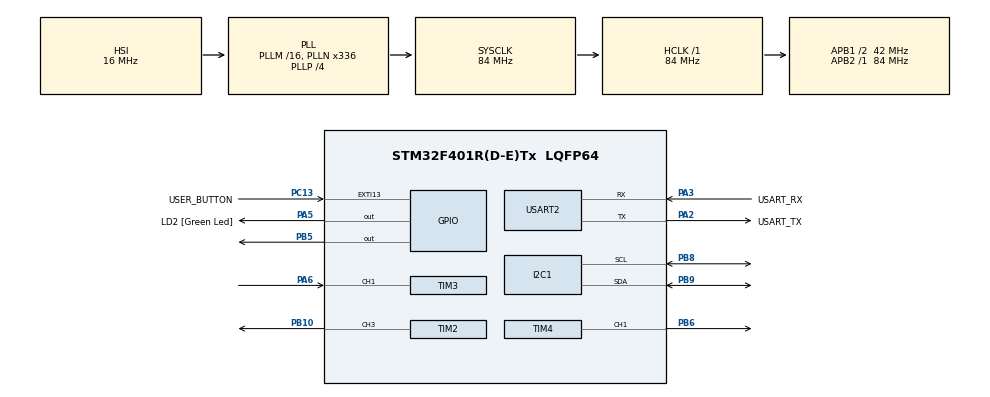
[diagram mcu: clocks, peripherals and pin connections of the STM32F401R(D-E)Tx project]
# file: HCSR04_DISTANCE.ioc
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Dma.Request0=USART2_TX
Dma.USART2_TX.0.Direction=DMA_MEMORY_TO_PERIPH
Dma.USART2_TX.0.FIFOMode=DMA_FIFOMODE_DISABLE
Dma.USART2_TX.0.Instance=DMA1_Stream6
Dma.USART2_TX.0.MemDataAlignment=DMA_MDATAALIGN_BYTE
Dma.USART2_TX.0.MemInc=DMA_MINC_ENABLE
Dma.USART2_TX.0.Mode=DMA_NORMAL
Dma.USART2_TX.0.PeriphDataAlignment=DMA_PDATAALIGN_BYTE
Dma.USART2_TX.0.PeriphInc=DMA_PINC_DISABLE
Dma.USART2_TX.0.Priority=DMA_PRIORITY_LOW
FREERTOS.Events01=systemEvent,Dynamic,NULL;healthEvent,Dynamic,NULL
FREERTOS.Queues01=counterQueue,4,SensorMessage_t,0,Dynamic,NULL,NULL;controlQueue,8,uint8_t,0,Dynamic,NULL,NULL;uartTxQueue,4,UartTxMessage_t,0,Dynamic,NULL,NULL
FREERTOS.Tasks01=appTask,24,512,StartAppTask,Default,NULL,Dynamic,NULL,NULL;heartbeatTask,8,128,StartHeartbeatTask,Default,NULL,Dynamic,NULL,NULL;consumerTask,16,128,StartConsumerTask,Default,NULL,Dynamic,NULL,NULL;eventTask,16,128,StartEventTask,Default,NULL,Dynamic,NULL,NULL;monitorTask,8,128,StartMonitorTask,Default,NULL,Dynamic,NULL,NULL;commandTask,24,384,StartCommandTask,Default,NULL,Dynamic,NULL,NULL;watchdogTask,24,128,StartWatchdogTask,Default,NULL,Dynamic,NULL,NULL;uartTxTask,24,256,StartUartTxTask,Default,NULL,Dynamic,NULL,NULL
FREERTOS.Timers01=statusTimer,StatusTimerCallback,osTimerPeriodic,Default,NULL,Dynamic,NULL
FREERTOS.configUSE_NEWLIB_REENTRANT=1
IWDG.Prescaler=IWDG_PRESCALER_32
IWDG.Reload=3999
Mcu.Family=STM32F4
Mcu.Name=STM32F401R(D-E)Tx
Mcu.Package=LQFP64
NVIC.DMA1_Stream6_IRQn=true\:5\:0\:false\:false\:true\:true\:false\:true\:true
NVIC.EXTI15_10_IRQn=true\:5\:0\:false\:false\:true\:true\:true\:true\:true
NVIC.PriorityGroup=NVIC_PRIORITYGROUP_4
NVIC.TIM3_IRQn=true\:5\:0\:false\:false\:true\:true\:true\:true\:true
NVIC.TIM5_IRQn=true\:15\:0\:false\:false\:true\:false\:false\:true\:true
NVIC.TimeBase=TIM5_IRQn
NVIC.TimeBaseIP=TIM5
NVIC.USART2_IRQn=true\:5\:0\:false\:false\:true\:true\:true\:true\:true
PA13.GPIO_Label=TMS
PA13.Mode=Trace_Asynchronous_SW
PA13.Signal=SYS_JTMS-SWDIO
PA14.GPIO_Label=TCK
PA14.Mode=Trace_Asynchronous_SW
PA14.Signal=SYS_JTCK-SWCLK
PA2.GPIO_Label=USART_TX
PA2.GPIO_Mode=GPIO_MODE_AF_PP
PA2.GPIO_PuPd=GPIO_NOPULL
PA2.GPIO_Speed=GPIO_SPEED_FREQ_LOW
PA2.Mode=Asynchronous
PA2.Signal=USART2_TX
PA3.GPIO_Label=USART_RX
PA3.GPIO_Mode=GPIO_MODE_AF_PP
PA3.GPIO_PuPd=GPIO_NOPULL
PA3.GPIO_Speed=GPIO_SPEED_FREQ_LOW
PA3.Mode=Asynchronous
PA3.Signal=USART2_RX
PA5.GPIO_Label=LD2 [Green Led]
PA5.GPIO_Mode=GPIO_MODE_OUTPUT_PP
PA5.GPIO_PuPd=GPIO_NOPULL
PA5.GPIO_Speed=GPIO_SPEED_FREQ_LOW
PA5.Signal=GPIO_Output
PA6.Signal=S_TIM3_CH1
PB10.Signal=S_TIM2_CH3
PB3.GPIO_Label=SWO
PB3.Mode=Trace_Asynchronous_SW
PB3.Signal=SYS_JTDO-SWO
PB5.Signal=GPIO_Output
PB6.Signal=S_TIM4_CH1
PB8.Mode=I2C
PB8.Signal=I2C1_SCL
PB9.Mode=I2C
PB9.Signal=I2C1_SDA
PC13-ANTI_TAMP.GPIO_Label=USER_BUTTON
PC13-ANTI_TAMP.Signal=GPXTI13
PC14-OSC32_IN.Mode=LSE-External-Oscillator
PC14-OSC32_IN.Signal=RCC_OSC32_IN
PC15-OSC32_OUT.Mode=LSE-External-Oscillator
PC15-OSC32_OUT.Signal=RCC_OSC32_OUT
PH0\ -\ OSC_IN.Mode=HSE-External-Clock-Source
PH0\ -\ OSC_IN.Signal=RCC_OSC_IN
PH1\ -\ OSC_OUT.Mode=HSE-External-Clock-Source
PH1\ -\ OSC_OUT.Signal=RCC_OSC_OUT
ProjectManager.HeapSize=0x200
ProjectManager.StackSize=0x400
ProjectManager.TargetToolchain=STM32CubeIDE
RCC.48MHZClocksFreq_Value=48000000
RCC.AHBFreq_Value=84000000
RCC.APB1CLKDivider=RCC_HCLK_DIV2
RCC.APB1Freq_Value=42000000
RCC.APB1TimFreq_Value=84000000
RCC.APB2Freq_Value=84000000
RCC.APB2TimFreq_Value=84000000
RCC.CortexFreq_Value=84000000
RCC.HCLKFreq_Value=84000000
RCC.HSE_VALUE=8000000
RCC.HSI_VALUE=16000000
RCC.PLLN=336
RCC.PLLP=RCC_PLLP_DIV4
RCC.PLLQ=7
RCC.SYSCLKFreq_VALUE=84000000
RCC.SYSCLKSource=RCC_SYSCLKSOURCE_PLLCLK
RCC.VCOOutputFreq_Value=336000000
SH.S_TIM2_CH3.0=TIM2_CH3,PWM Generation3 CH3
SH.S_TIM3_CH1.0=TIM3_CH1,Input_Capture1_from_TI1
SH.S_TIM4_CH1.0=TIM4_CH1,PWM Generation1 CH1
TIM2.Channel-PWM\ Generation3\ CH3=TIM_CHANNEL_3
TIM2.Period=19999
TIM2.Prescaler=83
TIM2.Pulse-PWM\ Generation3\ CH3=1500
TIM3.Channel-Input_Capture1_from_TI1=TIM_CHANNEL_1
TIM3.Prescaler=83
TIM4.Channel-PWM\ Generation1\ CH1=TIM_CHANNEL_1
TIM4.Period=499
TIM4.Prescaler=83
TIM4.Pulse-PWM\ Generation1\ CH1=250
USART2.VirtualMode=VM_ASYNC
VP_FREERTOS_VS_CMSIS_V2.Mode=CMSIS_V2
VP_IWDG_VS_IWDG.Mode=IWDG_Activate
VP_SYS_VS_tim5.Mode=TIM5
VP_TIM2_VS_ClockSourceINT.Mode=Internal
VP_TIM3_VS_ClockSourceINT.Mode=Internal
VP_TIM4_VS_ClockSourceINT.Mode=Internal
board=NUCLEO-F401RE

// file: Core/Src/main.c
/* USER CODE BEGIN Header */
/**
  ******************************************************************************
  * @file           : main.c
  * @brief          : Main program body
  ******************************************************************************
  * @attention
  *
  * Copyright (c) 2026 STMicroelectronics.
  * All rights reserved.
  *
  * This software is licensed under terms that can be found in the LICENSE file
  * in the root directory of this software component.
  * If no LICENSE file comes with this software, it is provided AS-IS.
  *
  ******************************************************************************
  */
/* USER CODE END Header */
#include "main.h"
#include "cmsis_os.h"

/* USER CODE BEGIN Includes */
#include "app.h"
#include "app_tasks.h"
#include "app_types.h"

#include "FreeRTOS.h"
#include "self_test.h"
#include "stream_buffer.h"
#include "system_health.h"
#include "task.h"
#include "uart_protocol.h"
#include "uart_tx.h"
/* USER CODE END Includes */

I2C_HandleTypeDef hi2c1;

IWDG_HandleTypeDef hiwdg;

TIM_HandleTypeDef htim2;
TIM_HandleTypeDef htim3;
TIM_HandleTypeDef htim4;

UART_HandleTypeDef huart2;
DMA_HandleTypeDef hdma_usart2_tx;

/* Definitions for appTask */
osThreadId_t appTaskHandle;
const osThreadAttr_t appTask_attributes = {
  .name = "appTask",
  .stack_size = 512 * 4,
  .priority = (osPriority_t) osPriorityNormal,
};
/* Definitions for heartbeatTask */
osThreadId_t heartbeatTaskHandle;
const osThreadAttr_t heartbeatTask_attributes = {
  .name = "heartbeatTask",
  .stack_size = 128 * 4,
  .priority = (osPriority_t) osPriorityLow,
};
/* Definitions for consumerTask */
osThreadId_t consumerTaskHandle;
const osThreadAttr_t consumerTask_attributes = {
  .name = "consumerTask",
  .stack_size = 128 * 4,
  .priority = (osPriority_t) osPriorityBelowNormal,
};
/* Definitions for eventTask */
osThreadId_t eventTaskHandle;
const osThreadAttr_t eventTask_attributes = {
  .name = "eventTask",
  .stack_size = 128 * 4,
  .priority = (osPriority_t) osPriorityBelowNormal,
};
/* Definitions for monitorTask */
osThreadId_t monitorTaskHandle;
const osThreadAttr_t monitorTask_attributes = {
  .name = "monitorTask",
  .stack_size = 128 * 4,
  .priority = (osPriority_t) osPriorityLow,
};
/* Definitions for commandTask */
osThreadId_t commandTaskHandle;
const osThreadAttr_t commandTask_attributes = {
  .name = "commandTask",
  .stack_size = 384 * 4,
  .priority = (osPriority_t) osPriorityNormal,
};
/* Definitions for watchdogTask */
osThreadId_t watchdogTaskHandle;
const osThreadAttr_t watchdogTask_attributes = {
  .name = "watchdogTask",
  .stack_size = 128 * 4,
  .priority = (osPriority_t) osPriorityNormal,
};
/* Definitions for uartTxTask */
osThreadId_t uartTxTaskHandle;
const osThreadAttr_t uartTxTask_attributes = {
  .name = "uartTxTask",
  .stack_size = 256 * 4,
  .priority = (osPriority_t) osPriorityNormal,
};
/* Definitions for counterQueue */
osMessageQueueId_t counterQueueHandle;
const osMessageQueueAttr_t counterQueue_attributes = {
  .name = "counterQueue"
};
/* Definitions for controlQueue */
osMessageQueueId_t controlQueueHandle;
const osMessageQueueAttr_t controlQueue_attributes = {
  .name = "controlQueue"
};
/* Definitions for uartTxQueue */
osMessageQueueId_t uartTxQueueHandle;
const osMessageQueueAttr_t uartTxQueue_attributes = {
  .name = "uartTxQueue"
};
/* Definitions for statusTimer */
osTimerId_t statusTimerHandle;
const osTimerAttr_t statusTimer_attributes = {
  .name = "statusTimer"
};
/* Definitions for systemEvent */
osEventFlagsId_t systemEventHandle;
const osEventFlagsAttr_t systemEvent_attributes = {
  .name = "systemEvent"
};
/* Definitions for healthEvent */
osEventFlagsId_t healthEventHandle;
const osEventFlagsAttr_t healthEvent_attributes = {
  .name = "healthEvent"
};
/* USER CODE BEGIN PV */
static StreamBufferHandle_t
    uartRxStreamBufferHandle = NULL;
/* USER CODE END PV */

void SystemClock_Config(void);
static void MX_GPIO_Init(void);
static void MX_DMA_Init(void);
static void MX_TIM3_Init(void);
static void MX_USART2_UART_Init(void);
static void MX_I2C1_Init(void);
static void MX_TIM4_Init(void);
static void MX_TIM2_Init(void);
static void MX_IWDG_Init(void);
void StartAppTask(void *argument);
void StartHeartbeatTask(void *argument);
void StartConsumerTask(void *argument);
void StartEventTask(void *argument);
void StartMonitorTask(void *argument);
void StartCommandTask(void *argument);
void StartWatchdogTask(void *argument);
void StartUartTxTask(void *argument);
void StatusTimerCallback(void *argument);

int main(void)
{

  /* USER CODE BEGIN 1 */
  SystemHealth_CaptureResetCause(
      RCC->CSR);
/* USER CODE END 1 */

  /* MCU Configuration--------------------------------------------------------*/

  /* Reset of all peripherals, Initializes the Flash interface and the Systick. */
  HAL_Init();

  /* USER CODE BEGIN Init */
  __HAL_RCC_CLEAR_RESET_FLAGS();

  #if defined(DEBUG)
    __HAL_DBGMCU_FREEZE_IWDG();
  #endif

  __HAL_RCC_CLEAR_RESET_FLAGS();
/* USER CODE END Init */

  /* Configure the system clock */
  SystemClock_Config();

  /* Initialize all configured peripherals */
  MX_GPIO_Init();
  MX_DMA_Init();
  MX_TIM3_Init();
  MX_USART2_UART_Init();
  MX_I2C1_Init();
  MX_TIM4_Init();
  MX_TIM2_Init();
  MX_IWDG_Init();
  /* USER CODE BEGIN 2 */
  static const AppHardware_t hardware =
  {
      .i2c = &hi2c1,
      .uart = &huart2,

      .hcsr04_timer = &htim3,
      .hcsr04_channel = TIM_CHANNEL_1,
      .hcsr04_trig_port = GPIOB,
      .hcsr04_trig_pin = GPIO_PIN_5,

      .buzzer_timer = &htim4,
      .buzzer_channel = TIM_CHANNEL_1,

      .servo_timer = &htim2,
      .servo_channel = TIM_CHANNEL_3
  };

  App_Init(&hardware);

//  App_Init(&app_hardware);
  /* USER CODE END 2 */

  /* Init scheduler */
  osKernelInitialize();

  /* Create the timer(s) */
  /* creation of statusTimer */
  statusTimerHandle = osTimerNew(StatusTimerCallback, osTimerPeriodic, NULL, &statusTimer_attributes);

  /* Create the queue(s) */
  /* creation of counterQueue */
  counterQueueHandle = osMessageQueueNew (4, sizeof(SensorMessage_t), &counterQueue_attributes);

  /* creation of controlQueue */
  controlQueueHandle = osMessageQueueNew (8, sizeof(uint8_t), &controlQueue_attributes);

  /* creation of uartTxQueue */
  uartTxQueueHandle = osMessageQueueNew (4, sizeof(UartTxMessage_t), &uartTxQueue_attributes);

  /* USER CODE BEGIN RTOS_QUEUES */
  /* add queues, ... */
  /*
   * UART RX Byte Stream
   *
   * 전체 저장 공간: 64Byte
   * Trigger Level: 1Byte
   */
  uartRxStreamBufferHandle =
      xStreamBufferCreate(
          64U,
          1U);
  /* USER CODE END RTOS_QUEUES */

  /* Create the thread(s) */
  /* creation of appTask */
  appTaskHandle = osThreadNew(StartAppTask, NULL, &appTask_attributes);

  /* creation of heartbeatTask */
  heartbeatTaskHandle = osThreadNew(StartHeartbeatTask, NULL, &heartbeatTask_attributes);

  /* creation of consumerTask */
  consumerTaskHandle = osThreadNew(StartConsumerTask, NULL, &consumerTask_attributes);

  /* creation of eventTask */
  eventTaskHandle = osThreadNew(StartEventTask, NULL, &eventTask_attributes);

  /* creation of monitorTask */
  monitorTaskHandle = osThreadNew(StartMonitorTask, NULL, &monitorTask_attributes);

  /* creation of commandTask */
  commandTaskHandle = osThreadNew(StartCommandTask, NULL, &commandTask_attributes);

  /* creation of watchdogTask */
  watchdogTaskHandle = osThreadNew(StartWatchdogTask, NULL, &watchdogTask_attributes);

  /* creation of uartTxTask */
  uartTxTaskHandle = osThreadNew(StartUartTxTask, NULL, &uartTxTask_attributes);

  /* Create the event(s) */
  /* creation of systemEvent */
  systemEventHandle = osEventFlagsNew(&systemEvent_attributes);

  /* creation of healthEvent */
  healthEventHandle = osEventFlagsNew(&healthEvent_attributes);

  /* USER CODE BEGIN RTOS_EVENTS */
  const AppTasksContext_t app_tasks_context =
  {
      .counter_queue = counterQueueHandle,
      .control_queue = controlQueueHandle,
      .system_event = systemEventHandle,
      .status_timer = statusTimerHandle
  };

  const UartProtocolContext_t protocol_context =
  {
      .uart = &huart2,
      .rx_stream_buffer = uartRxStreamBufferHandle,
      .control_queue = controlQueueHandle
  };

  const SystemHealthContext_t health_context =
  {
      .iwdg = &hiwdg,
      .health_event = healthEventHandle,
      .app_task = appTaskHandle,
      .heartbeat_task = heartbeatTaskHandle,
      .consumer_task = consumerTaskHandle,
      .event_task = eventTaskHandle,
      .monitor_task = monitorTaskHandle,
      .command_task = commandTaskHandle,
      .watchdog_task = watchdogTaskHandle,
      .uart_tx_task = uartTxTaskHandle
  };

  const SelfTestRtosObjects_t self_test_objects =
  {
      .app_task = appTaskHandle,
      .heartbeat_task = heartbeatTaskHandle,
      .consumer_task = consumerTaskHandle,
      .event_task = eventTaskHandle,
      .monitor_task = monitorTaskHandle,
      .command_task = commandTaskHandle,
      .watchdog_task = watchdogTaskHandle,
      .uart_tx_task = uartTxTaskHandle,
      .counter_queue = counterQueueHandle,
      .control_queue = controlQueueHandle,
      .uart_tx_queue = uartTxQueueHandle,
      .uart_rx_stream_buffer = uartRxStreamBufferHandle,
      .status_timer = statusTimerHandle,
      .system_event = systemEventHandle,
      .health_event = healthEventHandle
  };

  UartTx_Init(
      &huart2,
      uartTxQueueHandle,
      uartTxTaskHandle);

  AppTasks_Init(
      &app_tasks_context);

  UartProtocol_Init(
      &protocol_context);

  SystemHealth_Init(
      &health_context);

  if (SelfTest_Init(
          &hi2c1,
          &self_test_objects) == 0U)
  {
    Error_Handler();
  }
  /* add events, ... */
/* USER CODE END RTOS_EVENTS */

  /* Start scheduler */
  osKernelStart();

  /* We should never get here as control is now taken by the scheduler */

  /* Infinite loop */
  while (1)
  {

  }
}

void SystemClock_Config(void)
{
  RCC_OscInitTypeDef RCC_OscInitStruct = {0};
  RCC_ClkInitTypeDef RCC_ClkInitStruct = {0};

  /** Configure the main internal regulator output voltage
  */
  __HAL_RCC_PWR_CLK_ENABLE();
  __HAL_PWR_VOLTAGESCALING_CONFIG(PWR_REGULATOR_VOLTAGE_SCALE2);

  /** Initializes the RCC Oscillators according to the specified parameters
  * in the RCC_OscInitTypeDef structure.
  */
  RCC_OscInitStruct.OscillatorType = RCC_OSCILLATORTYPE_HSI|RCC_OSCILLATORTYPE_LSI;
  RCC_OscInitStruct.HSIState = RCC_HSI_ON;
  RCC_OscInitStruct.HSICalibrationValue = RCC_HSICALIBRATION_DEFAULT;
  RCC_OscInitStruct.LSIState = RCC_LSI_ON;
  RCC_OscInitStruct.PLL.PLLState = RCC_PLL_ON;
  RCC_OscInitStruct.PLL.PLLSource = RCC_PLLSOURCE_HSI;
  RCC_OscInitStruct.PLL.PLLM = 16;
  RCC_OscInitStruct.PLL.PLLN = 336;
  RCC_OscInitStruct.PLL.PLLP = RCC_PLLP_DIV4;
  RCC_OscInitStruct.PLL.PLLQ = 7;
  if (HAL_RCC_OscConfig(&RCC_OscInitStruct) != HAL_OK)
  {
    Error_Handler();
  }

  /** Initializes the CPU, AHB and APB buses clocks
  */
  RCC_ClkInitStruct.ClockType = RCC_CLOCKTYPE_HCLK|RCC_CLOCKTYPE_SYSCLK
                              |RCC_CLOCKTYPE_PCLK1|RCC_CLOCKTYPE_PCLK2;
  RCC_ClkInitStruct.SYSCLKSource = RCC_SYSCLKSOURCE_PLLCLK;
  RCC_ClkInitStruct.AHBCLKDivider = RCC_SYSCLK_DIV1;
  RCC_ClkInitStruct.APB1CLKDivider = RCC_HCLK_DIV2;
  RCC_ClkInitStruct.APB2CLKDivider = RCC_HCLK_DIV1;

  if (HAL_RCC_ClockConfig(&RCC_ClkInitStruct, FLASH_LATENCY_2) != HAL_OK)
  {
    Error_Handler();
  }
}

static void MX_I2C1_Init(void)
{

  hi2c1.Instance = I2C1;
  hi2c1.Init.ClockSpeed = 100000;
  hi2c1.Init.DutyCycle = I2C_DUTYCYCLE_2;
  hi2c1.Init.OwnAddress1 = 0;
  hi2c1.Init.AddressingMode = I2C_ADDRESSINGMODE_7BIT;
  hi2c1.Init.DualAddressMode = I2C_DUALADDRESS_DISABLE;
  hi2c1.Init.OwnAddress2 = 0;
  hi2c1.Init.GeneralCallMode = I2C_GENERALCALL_DISABLE;
  hi2c1.Init.NoStretchMode = I2C_NOSTRETCH_DISABLE;
  if (HAL_I2C_Init(&hi2c1) != HAL_OK)
  {
    Error_Handler();
  }

}

static void MX_IWDG_Init(void)
{

  hiwdg.Instance = IWDG;
  hiwdg.Init.Prescaler = IWDG_PRESCALER_32;
  hiwdg.Init.Reload = 3999;
  if (HAL_IWDG_Init(&hiwdg) != HAL_OK)
  {
    Error_Handler();
  }

}

static void MX_TIM2_Init(void)
{

  TIM_ClockConfigTypeDef sClockSourceConfig = {0};
  TIM_MasterConfigTypeDef sMasterConfig = {0};
  TIM_OC_InitTypeDef sConfigOC = {0};

  htim2.Instance = TIM2;
  htim2.Init.Prescaler = 83;
  htim2.Init.CounterMode = TIM_COUNTERMODE_UP;
  htim2.Init.Period = 19999;
  htim2.Init.ClockDivision = TIM_CLOCKDIVISION_DIV1;
  htim2.Init.AutoReloadPreload = TIM_AUTORELOAD_PRELOAD_DISABLE;
  if (HAL_TIM_Base_Init(&htim2) != HAL_OK)
  {
    Error_Handler();
  }
  sClockSourceConfig.ClockSource = TIM_CLOCKSOURCE_INTERNAL;
  if (HAL_TIM_ConfigClockSource(&htim2, &sClockSourceConfig) != HAL_OK)
  {
    Error_Handler();
  }
  if (HAL_TIM_PWM_Init(&htim2) != HAL_OK)
  {
    Error_Handler();
  }
  sMasterConfig.MasterOutputTrigger = TIM_TRGO_RESET;
  sMasterConfig.MasterSlaveMode = TIM_MASTERSLAVEMODE_DISABLE;
  if (HAL_TIMEx_MasterConfigSynchronization(&htim2, &sMasterConfig) != HAL_OK)
  {
    Error_Handler();
  }
  sConfigOC.OCMode = TIM_OCMODE_PWM1;
  sConfigOC.Pulse = 1500;
  sConfigOC.OCPolarity = TIM_OCPOLARITY_HIGH;
  sConfigOC.OCFastMode = TIM_OCFAST_DISABLE;
  if (HAL_TIM_PWM_ConfigChannel(&htim2, &sConfigOC, TIM_CHANNEL_3) != HAL_OK)
  {
    Error_Handler();
  }
  HAL_TIM_MspPostInit(&htim2);

}

static void MX_TIM3_Init(void)
{

  TIM_ClockConfigTypeDef sClockSourceConfig = {0};
  TIM_MasterConfigTypeDef sMasterConfig = {0};
  TIM_IC_InitTypeDef sConfigIC = {0};

  htim3.Instance = TIM3;
  htim3.Init.Prescaler = 83;
  htim3.Init.CounterMode = TIM_COUNTERMODE_UP;
  htim3.Init.Period = 65535;
  htim3.Init.ClockDivision = TIM_CLOCKDIVISION_DIV1;
  htim3.Init.AutoReloadPreload = TIM_AUTORELOAD_PRELOAD_DISABLE;
  if (HAL_TIM_Base_Init(&htim3) != HAL_OK)
  {
    Error_Handler();
  }
  sClockSourceConfig.ClockSource = TIM_CLOCKSOURCE_INTERNAL;
  if (HAL_TIM_ConfigClockSource(&htim3, &sClockSourceConfig) != HAL_OK)
  {
    Error_Handler();
  }
  if (HAL_TIM_IC_Init(&htim3) != HAL_OK)
  {
    Error_Handler();
  }
  sMasterConfig.MasterOutputTrigger = TIM_TRGO_RESET;
  sMasterConfig.MasterSlaveMode = TIM_MASTERSLAVEMODE_DISABLE;
  if (HAL_TIMEx_MasterConfigSynchronization(&htim3, &sMasterConfig) != HAL_OK)
  {
    Error_Handler();
  }
  sConfigIC.ICPolarity = TIM_INPUTCHANNELPOLARITY_RISING;
  sConfigIC.ICSelection = TIM_ICSELECTION_DIRECTTI;
  sConfigIC.ICPrescaler = TIM_ICPSC_DIV1;
  sConfigIC.ICFilter = 0;
  if (HAL_TIM_IC_ConfigChannel(&htim3, &sConfigIC, TIM_CHANNEL_1) != HAL_OK)
  {
    Error_Handler();
  }

}

static void MX_TIM4_Init(void)
{

  TIM_ClockConfigTypeDef sClockSourceConfig = {0};
  TIM_MasterConfigTypeDef sMasterConfig = {0};
  TIM_OC_InitTypeDef sConfigOC = {0};

  htim4.Instance = TIM4;
  htim4.Init.Prescaler = 83;
  htim4.Init.CounterMode = TIM_COUNTERMODE_UP;
  htim4.Init.Period = 499;
  htim4.Init.ClockDivision = TIM_CLOCKDIVISION_DIV1;
  htim4.Init.AutoReloadPreload = TIM_AUTORELOAD_PRELOAD_DISABLE;
  if (HAL_TIM_Base_Init(&htim4) != HAL_OK)
  {
    Error_Handler();
  }
  sClockSourceConfig.ClockSource = TIM_CLOCKSOURCE_INTERNAL;
  if (HAL_TIM_ConfigClockSource(&htim4, &sClockSourceConfig) != HAL_OK)
  {
    Error_Handler();
  }
  if (HAL_TIM_PWM_Init(&htim4) != HAL_OK)
  {
    Error_Handler();
  }
  sMasterConfig.MasterOutputTrigger = TIM_TRGO_RESET;
  sMasterConfig.MasterSlaveMode = TIM_MASTERSLAVEMODE_DISABLE;
  if (HAL_TIMEx_MasterConfigSynchronization(&htim4, &sMasterConfig) != HAL_OK)
  {
    Error_Handler();
  }
  sConfigOC.OCMode = TIM_OCMODE_PWM1;
  sConfigOC.Pulse = 250;
  sConfigOC.OCPolarity = TIM_OCPOLARITY_HIGH;
  sConfigOC.OCFastMode = TIM_OCFAST_DISABLE;
  if (HAL_TIM_PWM_ConfigChannel(&htim4, &sConfigOC, TIM_CHANNEL_1) != HAL_OK)
  {
    Error_Handler();
  }
  HAL_TIM_MspPostInit(&htim4);

}

static void MX_USART2_UART_Init(void)
{

  huart2.Instance = USART2;
  huart2.Init.BaudRate = 115200;
  huart2.Init.WordLength = UART_WORDLENGTH_8B;
  huart2.Init.StopBits = UART_STOPBITS_1;
  huart2.Init.Parity = UART_PARITY_NONE;
  huart2.Init.Mode = UART_MODE_TX_RX;
  huart2.Init.HwFlowCtl = UART_HWCONTROL_NONE;
  huart2.Init.OverSampling = UART_OVERSAMPLING_16;
  if (HAL_UART_Init(&huart2) != HAL_OK)
  {
    Error_Handler();
  }

}

static void MX_DMA_Init(void)
{

  /* DMA controller clock enable */
  __HAL_RCC_DMA1_CLK_ENABLE();

  /* DMA interrupt init */
  /* DMA1_Stream6_IRQn interrupt configuration */
  HAL_NVIC_SetPriority(DMA1_Stream6_IRQn, 5, 0);
  HAL_NVIC_EnableIRQ(DMA1_Stream6_IRQn);

}

static void MX_GPIO_Init(void)
{
  GPIO_InitTypeDef GPIO_InitStruct = {0};

  /* GPIO Ports Clock Enable */
  __HAL_RCC_GPIOC_CLK_ENABLE();
  __HAL_RCC_GPIOH_CLK_ENABLE();
  __HAL_RCC_GPIOA_CLK_ENABLE();
  __HAL_RCC_GPIOB_CLK_ENABLE();

  /*Configure GPIO pin Output Level */
  HAL_GPIO_WritePin(LD2_GPIO_Port, LD2_Pin, GPIO_PIN_RESET);

  /*Configure GPIO pin Output Level */
  HAL_GPIO_WritePin(GPIOB, GPIO_PIN_5, GPIO_PIN_RESET);

  /*Configure GPIO pin : USER_BUTTON_Pin */
  GPIO_InitStruct.Pin = USER_BUTTON_Pin;
  GPIO_InitStruct.Mode = GPIO_MODE_IT_RISING;
  GPIO_InitStruct.Pull = GPIO_NOPULL;
  HAL_GPIO_Init(USER_BUTTON_GPIO_Port, &GPIO_InitStruct);

  /*Configure GPIO pin : LD2_Pin */
  GPIO_InitStruct.Pin = LD2_Pin;
  GPIO_InitStruct.Mode = GPIO_MODE_OUTPUT_PP;
  GPIO_InitStruct.Pull = GPIO_NOPULL;
  GPIO_InitStruct.Speed = GPIO_SPEED_FREQ_LOW;
  HAL_GPIO_Init(LD2_GPIO_Port, &GPIO_InitStruct);

  /*Configure GPIO pin : PB5 */
  GPIO_InitStruct.Pin = GPIO_PIN_5;
  GPIO_InitStruct.Mode = GPIO_MODE_OUTPUT_PP;
  GPIO_InitStruct.Pull = GPIO_NOPULL;
  GPIO_InitStruct.Speed = GPIO_SPEED_FREQ_LOW;
  HAL_GPIO_Init(GPIOB, &GPIO_InitStruct);

  /* EXTI interrupt init*/
  HAL_NVIC_SetPriority(EXTI15_10_IRQn, 5, 0);
  HAL_NVIC_EnableIRQ(EXTI15_10_IRQn);

}

/* USER CODE BEGIN 4 */
void HAL_GPIO_EXTI_Callback(
    uint16_t GPIO_Pin)
{
  AppTasks_OnButtonInterrupt(
      GPIO_Pin);
}

void HAL_UART_RxCpltCallback(
    UART_HandleTypeDef *huart)
{
  UartProtocol_OnReceiveComplete(
      huart);
}

void HAL_UART_TxCpltCallback(
    UART_HandleTypeDef *huart)
{
  UartTx_OnTransmitComplete(
      huart);
}

void vApplicationStackOverflowHook(
    TaskHandle_t xTask,
    char *pcTaskName)
{
  (void)xTask;
  (void)pcTaskName;

  SystemHealth_OnStackOverflow();
}

void vApplicationMallocFailedHook(void)
{
  SystemHealth_OnMallocFailed();
}

void HardFault_C(
    uint32_t *fault_stack,
    uint32_t exc_return)
{
  SystemHealth_CaptureHardFault(
      fault_stack,
      exc_return);
}
/* USER CODE END 4 */

void StartAppTask(void *argument)
{
  /* USER CODE BEGIN 5 */
	/* USER CODE BEGIN StartAppTask */
  AppTask_Run(argument);
/* USER CODE END StartAppTask */
  /* USER CODE END 5 */
}

void StartHeartbeatTask(void *argument)
{
  /* USER CODE BEGIN StartHeartbeatTask */
  HeartbeatTask_Run(argument);
/* USER CODE END StartHeartbeatTask */
}

void StartConsumerTask(void *argument)
{
  /* USER CODE BEGIN StartConsumerTask */
  ConsumerTask_Run(argument);
/* USER CODE END StartConsumerTask */
}

void StartEventTask(void *argument)
{
  /* USER CODE BEGIN StartEventTask */
  EventTask_Run(argument);
/* USER CODE END StartEventTask */
}

void StartMonitorTask(void *argument)
{
  /* USER CODE BEGIN StartMonitorTask */
  MonitorTask_Run(argument);
/* USER CODE END StartMonitorTask */
}

void StartCommandTask(void *argument)
{
  /* USER CODE BEGIN StartCommandTask */
  CommandTask_Run(argument);
/* USER CODE END StartCommandTask */
}

void StartWatchdogTask(void *argument)
{
  /* USER CODE BEGIN StartWatchdogTask */
  WatchdogTask_Run(argument);
/* USER CODE END StartWatchdogTask */
}

void StartUartTxTask(void *argument)
{
  /* USER CODE BEGIN StartUartTxTask */
  UartTxTask_Run(argument);
/* USER CODE END StartUartTxTask */
}

/* StatusTimerCallback function */
void StatusTimerCallback(void *argument)
{
  /* USER CODE BEGIN StatusTimerCallback */
  (void)argument;

  AppTasks_OnStatusTimer();
/* USER CODE END StatusTimerCallback */
}

void HAL_TIM_PeriodElapsedCallback(TIM_HandleTypeDef *htim)
{
  if (htim->Instance == TIM5)
  {
    HAL_IncTick();
  }
}

void Error_Handler(void)
{
  __disable_irq();
  while (1)
  {
  }
}
